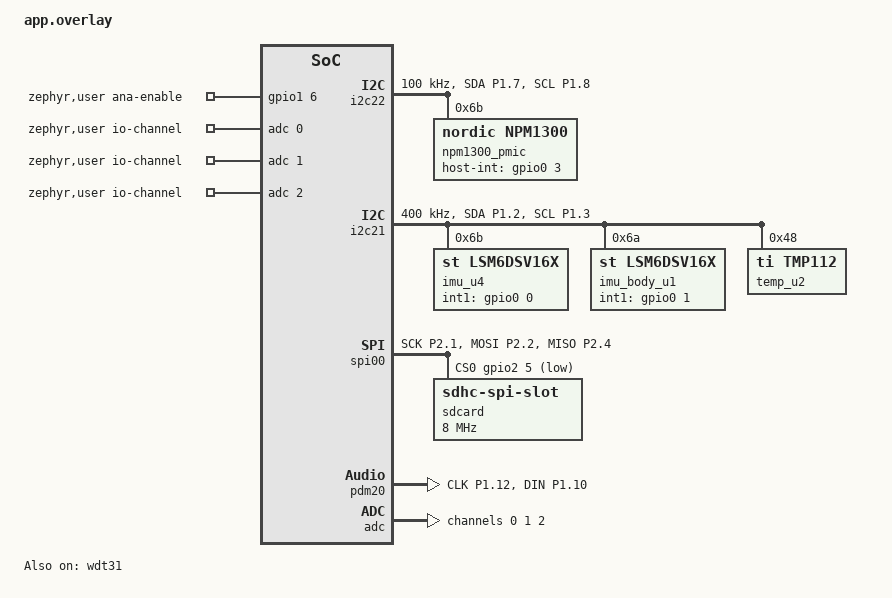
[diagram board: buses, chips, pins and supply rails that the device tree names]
#include <zephyr/dt-bindings/gpio/gpio.h>
#include <zephyr/dt-bindings/i2c/i2c.h>
#include <zephyr/dt-bindings/pinctrl/nrf-pinctrl.h>
#include <zephyr/dt-bindings/sensor/lsm6dsv16x.h>
#include <zephyr/dt-bindings/sensor/lsm6dsvxxx.h>
#include <zephyr/dt-bindings/adc/nrf-saadc.h>
#include <zephyr/dt-bindings/adc/adc.h>

/*
 * LIHAObohuan 宠物环主板（fubenxiangmu）电源/开关机/LED 设备树
 *
 * 关键硬件连接（对齐《元器件引脚及功能模块对应表》）：
 *   P1.07 <-> nPM1300 SDA   (PMIC_TWI = i2c22)
 *   P1.08 ->  nPM1300 SCL
 *   P0.03 <-  nPM1300 GPIO1 / PMIC_IRQ_N（R24 47k 外部上拉）
 *   P1.06 ->  TPS7A2030 EN / ANA_EN（注意：EVT0 为 P1.05，本板改 P1.06）
 */

/ {
	zephyr,user {
		/* 模拟电源域使能：TPS7A2030 EN，高有效，R25 100k 下拉默认关 */
		ana-enable-gpios = <&gpio1 6 GPIO_ACTIVE_HIGH>;

		/*
		 * PVDF 信号链 ADC 通道引用（task-V1.05，pvdf_adc.c 按序取）：
		 *   idx0=channel@0(ADC_HEART/AIN1)  idx1=channel@1(ADC_RAW/AIN6)
		 *   idx2=channel@2(ADC_REF/AIN7)
		 */
		io-channels = <&adc 0>, <&adc 1>, <&adc 2>;
	};
};

/*
 * P1.02/P1.03 复位后默认为 NFC 天线 pad（NFCT.PADCONFIG 复位值 0x1=Enabled，
 * 且每次复位重新加载）。nRF54L 的归还机制与 nRF52 不同：
 *   - nRF52：UICR.NFCPINS（本芯片 UICR 无此寄存器）
 *   - nRF54L：运行时直接写 NFCT.PADCONFIG=0 即可归还为 GPIO，无需重启
 * 实际归还动作在 src/hardware/imu_sensor.c 的 PRE_KERNEL_1 初始化中完成，
 * 必须早于 i2c21 TWIM 的 pinctrl 应用。
 */
&nfct {
	nfct-pins-as-gpios;
};

/*
 * 关键：禁用 uart20（uart20 冲突规避，双保险之二）。
 * DK 板级 pinctrl 为 uart20 预定义了 TX=P1.04/RX=P1.05/RTS=P1.06/CTS=P1.07，
 * 与本板 IMU_REF_INT2/ADC_HEART/ANA_EN/PMIC_TWI_SDA 四脚全部冲突。
 */
&uart20 {
	status = "disabled";
};

&pinctrl {
	pet_pmic_i2c22_default: pet_pmic_i2c22_default {
		group1 {
			psels = <NRF_PSEL(TWIM_SDA, 1, 7)>,
				<NRF_PSEL(TWIM_SCL, 1, 8)>;
		};
	};

	pet_pmic_i2c22_sleep: pet_pmic_i2c22_sleep {
		group1 {
			psels = <NRF_PSEL(TWIM_SDA, 1, 7)>,
				<NRF_PSEL(TWIM_SCL, 1, 8)>;
			low-power-enable;
		};
	};
};

&i2c22 {
	compatible = "nordic,nrf-twim";
	status = "okay";
	clock-frequency = <I2C_BITRATE_STANDARD>;
	pinctrl-0 = <&pet_pmic_i2c22_default>;
	pinctrl-1 = <&pet_pmic_i2c22_sleep>;
	pinctrl-names = "default", "sleep";

	npm1300_pmic: pmic@6b {
		compatible = "nordic,npm1300";
		reg = <0x6b>;
		status = "okay";

		/* nPM1300 GPOIRQ：空闲低电平，中断挂起期间为高 */
		host-int-gpios = <&gpio0 3 GPIO_ACTIVE_HIGH>;
		pmic-int-pin = <1>;

		/* 从 Ship 模式唤醒需长按约 0.6 s */
		ship-to-active-time-ms = <608>;

		/* 保留 nPM1300 10 s 长按应急 power-cycle 复位 */
		long-press-reset = "one-button";
	};
};

&lfxo {
	load-capacitors = "internal";
	load-capacitance-femtofarad = <9000>;
};

&hfxo {
	load-capacitors = "internal";
	load-capacitance-femtofarad = <8000>;
};

/*
 * SENS_I2C（task-V1.03 IMU 采集）：P1.02=SDA / P1.03=SCL，4.7kΩ 上拉（R2/R4）。
 * 总线挂载：主板 U4 LSM6DSV16XTR（地址由 R6 0Ω 设 SA0）+
 * FPC1 柔性板（LSM6DSV16X + TMP112，地址由各自 0Ω 电阻区分）。
 * 400kHz Fast Mode：FIFO 批量读需要带宽余量。
 */
&pinctrl {
	pet_sens_i2c21_default: pet_sens_i2c21_default {
		group1 {
			psels = <NRF_PSEL(TWIM_SDA, 1, 2)>,
				<NRF_PSEL(TWIM_SCL, 1, 3)>;
		};
	};

	pet_sens_i2c21_sleep: pet_sens_i2c21_sleep {
		group1 {
			psels = <NRF_PSEL(TWIM_SDA, 1, 2)>,
				<NRF_PSEL(TWIM_SCL, 1, 3)>;
			low-power-enable;
		};
	};
};

&i2c21 {
	compatible = "nordic,nrf-twim";
	status = "okay";
	clock-frequency = <I2C_BITRATE_FAST>;
	pinctrl-0 = <&pet_sens_i2c21_default>;
	pinctrl-1 = <&pet_sens_i2c21_sleep>;
	pinctrl-names = "default", "sleep";

	/*
	 * 主板 IMU U4（LSM6DSV16XTR，task-V1.03 第二步）：
	 *   - 地址 0x6B：2026-10-01 板测实锤（R6 SA0=1 方向）
	 *   - zephyr,deferred-init：VDD_SENS_3V0（nPM1300 LDSW1）默认关闭，
	 *     驱动若在 POST_KERNEL 自动初始化会在无电状态下 whoami 失败；
	 *     改为上电后由 imu_stream.c 手动 device_init()
	 *   - INT1→P0.00（IMU_REF_INT1），drdy 触发采样
	 *   - 量程：±8g / 2000dps（宠物甩头奔跑场景，方案 §2）
	 *   - ODR 30Hz：BLE 传输与功耗平衡（后续经控制点可调）
	 */
	imu_u4: lsm6dsv16x@6b {
		compatible = "st,lsm6dsv16x";
		reg = <0x6b>;
		zephyr,deferred-init;
		accel-odr = <LSM6DSVXXX_DT_ODR_AT_30Hz>;
		accel-range = <LSM6DSV16X_DT_FS_8G>;
		gyro-odr = <LSM6DSVXXX_DT_ODR_AT_30Hz>;
		gyro-range = <LSM6DSV16X_DT_FS_2000DPS>;
		int1-gpios = <&gpio0 0 GPIO_ACTIVE_HIGH>;
		drdy-pin = <1>;
		status = "okay";
	};

	/*
	 * 柔性板 U1 LSM6DSV16XTR（task-V1.05，felxboard 经 FPC1）：
	 *   - 地址 0x6A：柔性板 R1 0Ω 到 GND（SA0=0），与主板 U4@0x6B 共存同总线
	 *   - zephyr,deferred-init：同 U4，VDD_SENS_3V0 上电后手动 device_init
	 *   - INT1→P0.01（IMU_BODY_INT1，经 FPC1 pin8/13），INT2→P1.11（IMU_BODY_INT2）
	 *   - QVAR-A 通道电极 AQVAR1/AQVAR2 接芯片 pin2/pin3（片内前端，不占 MCU 引脚）
	 *   - 未插 FPC 时 0x6A 无 ACK 属预期（ABSENT 非故障，见 body_imu.c）
	 */
	imu_body_u1: lsm6dsv16x@6a {
		compatible = "st,lsm6dsv16x";
		reg = <0x6a>;
		zephyr,deferred-init;
		accel-odr = <LSM6DSVXXX_DT_ODR_AT_30Hz>;
		accel-range = <LSM6DSV16X_DT_FS_8G>;
		gyro-odr = <LSM6DSVXXX_DT_ODR_AT_30Hz>;
		gyro-range = <LSM6DSV16X_DT_FS_2000DPS>;
		int1-gpios = <&gpio0 1 GPIO_ACTIVE_HIGH>;
		drdy-pin = <1>;
		status = "okay";
	};

	/*
	 * 柔性板 U2 TMP112A 温度传感器（task-V1.04）：
	 *   - 地址 0x48：ADD0 接地（原理图 P1 页）
	 *   - zephyr,deferred-init：同 IMU，VDD_SENS 上电后手动 device_init
	 *   - ALERT 接地未用，仅轮询读温
	 *   - 经 FPC 在柔性板上，未插排线时扫描不到属预期（ABSENT 非故障）
	 */
	temp_u2: tmp112@48 {
		compatible = "ti,tmp112";
		reg = <0x48>;
		zephyr,deferred-init;
		status = "okay";
	};
};

/*
 * SD NAND 存储 U12 CSNP1GCR01-BOW（task-V1.04，1Gb=128MB，SD 2.0 SPI 模式）：
 *   SCK=P2.01(经R27 33Ω) MOSI=P2.02 MISO=P2.04 CS=P2.05(R26 47k上拉)
 * 用 spi00（32MHz 高速域，P2 引脚配对；spi20-23 上限 8MHz）。
 * 初期保守 8MHz，稳定后可提频。电源 VDD_STORE_3V0_SW 由 PMIC LDO2 门控，
 * 测试前需 power_domain_set(POWER_DOMAIN_STORE, true)。
 */
&pinctrl {
	pet_sd_spi00_default: pet_sd_spi00_default {
		group1 {
			psels = <NRF_PSEL(SPIM_SCK, 2, 1)>,
				<NRF_PSEL(SPIM_MOSI, 2, 2)>,
				<NRF_PSEL(SPIM_MISO, 2, 4)>;
		};
	};

	pet_sd_spi00_sleep: pet_sd_spi00_sleep {
		group1 {
			psels = <NRF_PSEL(SPIM_SCK, 2, 1)>,
				<NRF_PSEL(SPIM_MOSI, 2, 2)>,
				<NRF_PSEL(SPIM_MISO, 2, 4)>;
			low-power-enable;
		};
	};
};

&spi00 {
	status = "okay";
	pinctrl-0 = <&pet_sd_spi00_default>;
	pinctrl-1 = <&pet_sd_spi00_sleep>;
	pinctrl-names = "default", "sleep";
	cs-gpios = <&gpio2 5 GPIO_ACTIVE_LOW>;

	sdcard@0 {
		compatible = "zephyr,sdhc-spi-slot";
		reg = <0>;
		status = "okay";
		spi-max-frequency = <8000000>;

		sdmmc {
			compatible = "zephyr,sdmmc-disk";
			disk-name = "SD";
			status = "okay";
		};
	};
};

/*
 * 双 PDM 麦克风 U5/U6 IM69D128（task-V1.04，立体声分时隙）：
 *   CLK=P1.12 共享；DATA 各经 100Ω 汇至 DIN=P1.10
 *   U5 LR select=VDD（右时隙），U6 LR select=GND（左时隙）
 * 与 Zephyr dmic 示例 bl54l15_dvk 同款接法（CLK 恰同 P1.12）。
 */
&pinctrl {
	pet_mic_pdm20_default: pet_mic_pdm20_default {
		group1 {
			psels = <NRF_PSEL(PDM_CLK, 1, 12)>,
				<NRF_PSEL(PDM_DIN, 1, 10)>;
		};
	};
};

dmic_dev: &pdm20 {
	status = "okay";
	pinctrl-0 = <&pet_mic_pdm20_default>;
	pinctrl-names = "default";
	clock-source = "PCLK32M";
};

/*
 * 硬件看门狗（2026-10-01 SWD 实锤 MPSL 库死锁后加入）：
 * 手机断开瞬间 Nordic MPSL 私有工作队列（协作优先级 -10）曾在
 * 闭源库内部死锁，饿死 sysworkq/main 线程——板子"不广播、无日志"
 * 假死。wdt31 兜底：main 主循环 20ms 喂狗，超时 30s 复位恢复广播。
 * wdt30 硬件固定为 Secure 侧，应用不可用，故用 wdt31。
 */
&wdt31 {
	status = "okay";
};

/*
 * PVDF 压电信号链 ADC（task-V1.05，U8 OPA4391 四运放调理 → SAADC）：
 *   ADC_HEART = P1.05/AIN1  心率信号（CH4 高通增益 ≈-4 输出，R15 1k 隔离）
 *   ADC_RAW   = P1.13/AIN6  低通原始信号（CH3 缓冲输出，R13 1k 隔离）
 *   ADC_REF   = P1.14/AIN7  VBIAS 虚地监测（CH1 缓冲，R14 1k，≈VDD_ANA/2=1.5V）
 * 电源 VDD_ANA_3V0 由 ANA_EN(P1.06) 门控（U10 TPS7A2030），
 * 读取前需 power_domain_set(POWER_DOMAIN_ANALOG, true)，见 pvdf_adc.c。
 * 增益 1/6 + 内部 0.6V 基准 → 满量程 3.6V，覆盖 VDD_ANA_3V0 全摆幅。
 * 注意 P1.05/P1.13/P1.14 与 uart20 冲突已在上方禁用，SAADC 独占。
 */
&adc {
	status = "okay";
	#address-cells = <1>;
	#size-cells = <0>;

	channel@0 {
		reg = <0>;
		zephyr,gain = "ADC_GAIN_1_6";
		zephyr,reference = "ADC_REF_INTERNAL";
		zephyr,acquisition-time = <ADC_ACQ_TIME_DEFAULT>;
		zephyr,input-positive = <NRF_SAADC_AIN1>;
		zephyr,resolution = <12>;
	};

	channel@1 {
		reg = <1>;
		zephyr,gain = "ADC_GAIN_1_6";
		zephyr,reference = "ADC_REF_INTERNAL";
		zephyr,acquisition-time = <ADC_ACQ_TIME_DEFAULT>;
		zephyr,input-positive = <NRF_SAADC_AIN6>;
		zephyr,resolution = <12>;
	};

	channel@2 {
		reg = <2>;
		zephyr,gain = "ADC_GAIN_1_6";
		zephyr,reference = "ADC_REF_INTERNAL";
		zephyr,acquisition-time = <ADC_ACQ_TIME_DEFAULT>;
		zephyr,input-positive = <NRF_SAADC_AIN7>;
		zephyr,resolution = <12>;
	};
};
